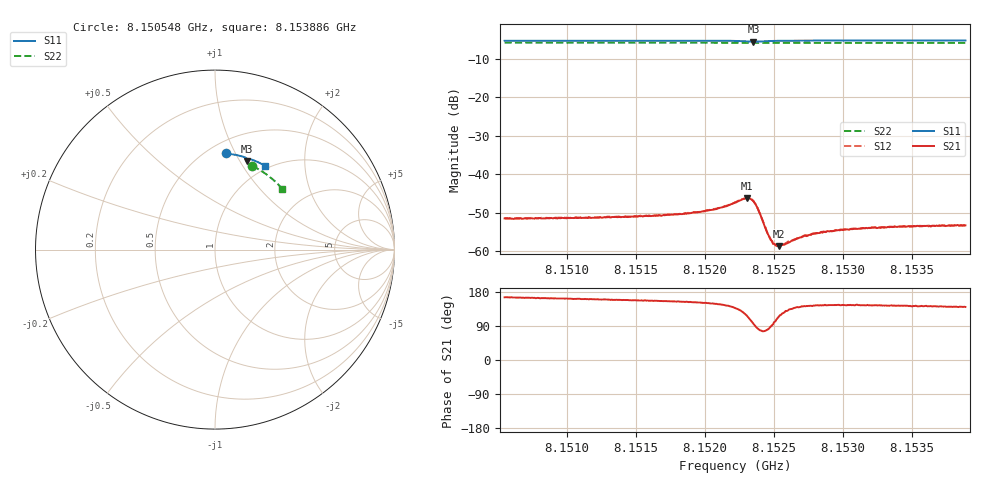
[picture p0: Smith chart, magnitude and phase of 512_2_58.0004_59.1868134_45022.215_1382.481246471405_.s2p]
#  HZ  S  RI  R  50.00
! Rohde & Schwarz Vector Network Analyzer
! Rohde-Schwarz,ZNB20-2Port,1311601062101988,3.16
! Created: UTC 3/21/2024, 1:13:14 AM
! freq[Hz]  re:S11  im:S11  re:S21  im:S21  re:S12  im:S12  re:S22  im:S22
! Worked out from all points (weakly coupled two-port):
!   401 points, 8.150548 GHz to 8.153886 GHz, reference 50 ohm
!   highest |S21| = -46.18 dB at 8.1523 GHz (marker M1); lowest = -58.6 dB at 8.152534 GHz (marker M2)
!   lowest |S11| = -5.6 dB at 8.15235 GHz (marker M3), VSWR 3.20, Z = 39.4 + j53.5 ohm
!   |S11| at or under -10 dB: nowhere
!   |S22| runs from -5.9 to -5.8 dB; largest |S21 - S12| = 0.00013
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8.1505479e9  0.0604 0.5355  -0.00259 0.000673  -0.00258 0.000711  0.2084 0.4652
8.151107e9  0.0992 0.5306  -0.00256 0.000895  -0.0026 0.000918  0.2403 0.4488
8.1516662e9  0.138 0.5223  -0.00268 0.00121  -0.00269 0.00122  0.2709 0.43
8.151975e9  0.1601 0.516  -0.00287 0.00159  -0.00288 0.00161  0.287 0.4188
8.1520834e9  0.1685 0.5129  -0.00301 0.00186  -0.003 0.00194  0.2925 0.4146
8.152217e9  0.179 0.5058  -0.00318 0.00294  -0.00314 0.00294  0.2994 0.4094
8.1523004e9  0.1817 0.4964  -0.0023 0.00434  -0.00222 0.0044  0.3033 0.4059
8.1523255e9  0.1797 0.4939  -0.00143 0.00463  -0.00138 0.00469  0.3045 0.4049
8.1523505e9  0.1766 0.4931  -0.000439 0.00445  -0.000391 0.00449  0.3055 0.404
8.1523672e9  0.1745 0.4942  0.000129 0.00404  0.000162 0.00408  0.3062 0.4034
8.1523839e9  0.1735 0.4962  0.000482 0.00348  0.000549 0.00349  0.307 0.4029
8.1524506e9  0.1769 0.5032  0.000292 0.00172  0.000353 0.00171  0.3105 0.4005
8.1524757e9  0.1794 0.5043  4.36e-05 0.00141  5.85e-05 0.00144  0.3117 0.3996
8.1524924e9  0.1813 0.5048  -8.96e-05 0.00125  -9.14e-05 0.0013  0.3126 0.3989
8.1525091e9  0.1829 0.505  -0.000242 0.00118  -0.000263 0.00121  0.3135 0.3983
8.1525341e9  0.1853 0.5052  -0.000482 0.00108  -0.000444 0.00108  0.3147 0.3974
8.1525758e9  0.1893 0.5049  -0.000721 0.000988  -0.000736 0.00101  0.3168 0.3955
8.152676e9  0.1976 0.5033  -0.00112 0.000975  -0.00112 0.000982  0.3217 0.3915
8.1527761e9  0.2051 0.5011  -0.00133 0.00103  -0.00135 0.00103  0.3264 0.3873
8.152968e9  0.2187 0.4961  -0.00157 0.00107  -0.00154 0.00111  0.3356 0.3789
8.1533352e9  0.2426 0.4857  -0.00165 0.00124  -0.00167 0.00127  0.3522 0.3629
8.153886e9  0.2768 0.4681  -0.00167 0.0014  -0.00165 0.00143  0.3756 0.3373
